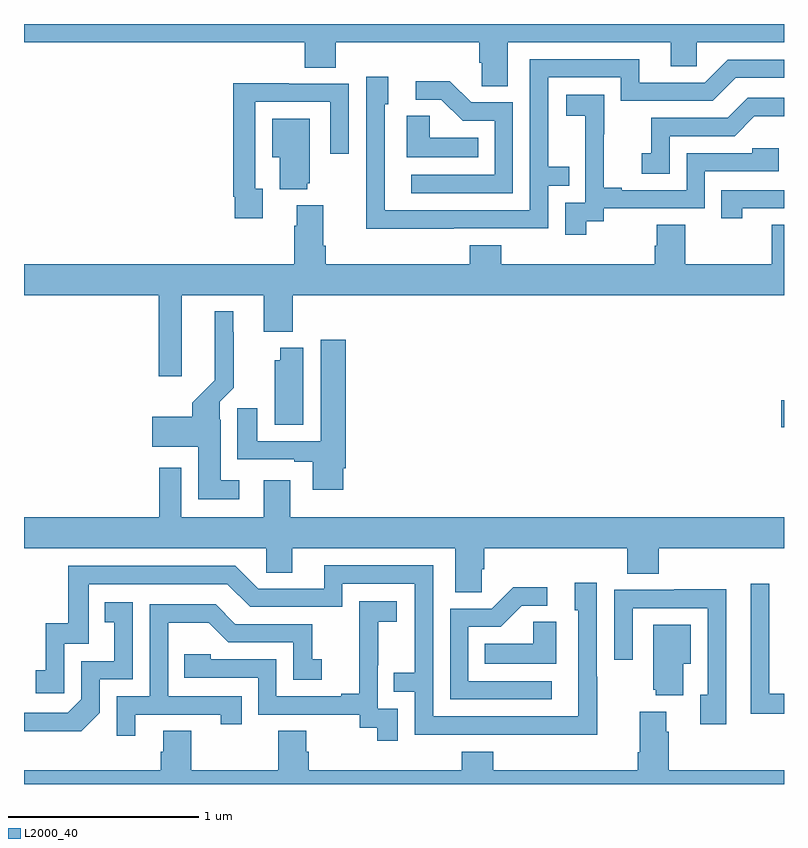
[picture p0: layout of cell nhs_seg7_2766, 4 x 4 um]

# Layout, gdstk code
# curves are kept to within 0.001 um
import gdstk
lib = gdstk.Library(unit=1e-6, precision=1e-09)
def R(c, l, rs):  # rectangles x0, y0, x1, y1
    for r in rs: c.add(gdstk.rectangle(r[:2], r[2:], *l))
def P(c, l, *ps):  # polygons
    for p in ps: c.add(gdstk.Polygon(p, *l))
L2000_40 = (2000, 40)

nhs_seg7_2766 = lib.new_cell('nhs_seg7_2766')
R(nhs_seg7_2766, L2000_40, [(292.986,1043.878,293,1044.02)])
P(nhs_seg7_2766, L2000_40, [(291.547,1045.904),(292.403,1045.904),(292.403,1045.777),(292.542,1045.777),(292.542,1045.904),(293,1045.904),(293,1046),(289,1046),(289,1045.904),(290.477,1045.904),(290.477,1045.771),(290.642,1045.771),(290.642,1045.904),(291.395,1045.904),(291.395,1045.795),(291.408,1045.795),(291.408,1045.672),(291.547,1045.672)],
  [(291.263,1044.924),(291.759,1044.924),(291.759,1045.149),(291.869,1045.149),(291.869,1045.25),(291.759,1045.25),(291.759,1045.719),(292.14,1045.719),(292.14,1045.596),(292.626,1045.596),(292.746,1045.716),(293,1045.716),(293,1045.812),(292.704,1045.812),(292.584,1045.692),(292.237,1045.692),(292.237,1045.815),(291.663,1045.815),(291.663,1045.02),(290.898,1045.02),(290.898,1045.578),(290.917,1045.578),(290.917,1045.723),(290.802,1045.723),(290.802,1045.229),(290.8,1045.229),(290.8,1044.923)],
  [(291.573,1045.587),(291.354,1045.587),(291.241,1045.7),(291.063,1045.7),(291.063,1045.602),(291.197,1045.602),(291.308,1045.491),(291.477,1045.491),(291.477,1045.206),(291.039,1045.206),(291.039,1045.11),(291.573,1045.11)],
  [(290.257,1045.134),(290.217,1045.134),(290.217,1045.59),(290.613,1045.59),(290.613,1045.317),(290.709,1045.317),(290.709,1045.686),(290.393,1045.686),(290.393,1045.688),(290.101,1045.688),(290.101,1045.09),(290.109,1045.09),(290.109,1044.978),(290.257,1044.978)],
  [(291.958,1044.961),(292.05,1044.961),(292.05,1045.029),(292.584,1045.029),(292.584,1045.224),(292.973,1045.224),(292.973,1045.347),(292.833,1045.347),(292.833,1045.32),(292.488,1045.32),(292.488,1045.125),(292.147,1045.125),(292.147,1045.138),(292.052,1045.138),(292.052,1045.421),(292.053,1045.421),(292.053,1045.627),(291.855,1045.627),(291.855,1045.517),(291.953,1045.517),(291.953,1045.289),(291.954,1045.289),(291.954,1045.059),(291.849,1045.059),(291.849,1044.891),(291.958,1044.891)],
  [(292.398,1045.41),(292.74,1045.41),(292.844,1045.514),(293,1045.514),(293,1045.611),(292.808,1045.611),(292.703,1045.506),(292.3,1045.506),(292.3,1045.321),(292.251,1045.321),(292.251,1045.212),(292.398,1045.212)],
  [(291.392,1045.402),(291.135,1045.402),(291.135,1045.517),(291.014,1045.517),(291.014,1045.298),(291.392,1045.298)],
  [(290.492,1045.161),(290.503,1045.161),(290.503,1045.501),(290.306,1045.501),(290.306,1045.298),(290.345,1045.298),(290.345,1045.13),(290.492,1045.13)],
  [(292.78,1045.029),(293,1045.029),(293,1045.125),(292.669,1045.125),(292.669,1044.978),(292.78,1044.978)],
  [(289.831,1044.572),(290.261,1044.572),(290.261,1044.38),(290.414,1044.38),(290.414,1044.572),(293,1044.572),(293,1044.944),(292.936,1044.944),(292.936,1044.736),(292.479,1044.736),(292.479,1044.944),(292.331,1044.944),(292.331,1044.834),(292.319,1044.834),(292.319,1044.736),(291.512,1044.736),(291.512,1044.835),(291.347,1044.835),(291.347,1044.736),(290.588,1044.736),(290.588,1044.832),(290.575,1044.832),(290.575,1045.045),(290.435,1045.045),(290.435,1044.938),(290.423,1044.938),(290.423,1044.736),(289,1044.736),(289,1044.572),(289.709,1044.572),(289.709,1044.147),(289.831,1044.147)],
  [(290.134,1043.599),(290.035,1043.599),(290.035,1043.918),(290.031,1043.918),(290.031,1044.012),(290.105,1044.086),(290.105,1044.377),(290.101,1044.377),(290.101,1044.487),(290.003,1044.487),(290.004,1044.124),(289.886,1044.006),(289.886,1043.932),(289.674,1043.932),(289.674,1043.774),(289.916,1043.774),(289.916,1043.498),(290.134,1043.498)],
  [(290.68,1043.662),(290.693,1043.662),(290.693,1044.337),(290.561,1044.337),(290.561,1043.805),(290.227,1043.805),(290.227,1043.977),(290.123,1043.977),(290.123,1043.709),(290.423,1043.709),(290.423,1043.697),(290.519,1043.697),(290.519,1043.55),(290.68,1043.55)],
  [(290.47,1044.295),(290.348,1044.295),(290.348,1044.231),(290.321,1044.231),(290.321,1043.89),(290.47,1043.89)],
  [(291.408,1043.131),(291.422,1043.131),(291.422,1043.24),(292.175,1043.24),(292.175,1043.107),(292.34,1043.107),(292.34,1043.24),(293,1043.24),(293,1043.404),(290.401,1043.404),(290.401,1043.599),(290.261,1043.599),(290.261,1043.404),(289.827,1043.404),(289.827,1043.665),(289.711,1043.665),(289.711,1043.404),(289,1043.404),(289,1043.24),(290.274,1043.24),(290.274,1043.113),(290.413,1043.113),(290.413,1043.24),(291.269,1043.24),(291.269,1043.008),(291.408,1043.008)],
  [(292.017,1042.565),(292.014,1042.565),(292.014,1043.059),(291.899,1043.059),(291.899,1042.914),(291.918,1042.914),(291.918,1042.356),(291.153,1042.356),(291.153,1043.151),(290.579,1043.151),(290.579,1043.028),(290.232,1043.028),(290.112,1043.148),(289.233,1043.148),(289.233,1042.846),(289.115,1042.846),(289.115,1042.599),(289.062,1042.599),(289.062,1042.478),(289.212,1042.478),(289.212,1042.737),(289.341,1042.737),(289.341,1043.052),(290.07,1043.052),(290.19,1042.932),(290.676,1042.932),(290.676,1043.055),(291.057,1043.055),(291.057,1042.586),(290.947,1042.586),(290.947,1042.485),(291.057,1042.485),(291.057,1042.26),(292.017,1042.259)],
  [(293,1042.474),(292.923,1042.474),(292.923,1043.053),(292.826,1043.053),(292.826,1042.37),(293,1042.37)],
  [(291.778,1042.542),(291.339,1042.542),(291.339,1042.827),(291.508,1042.827),(291.619,1042.938),(291.754,1042.938),(291.754,1043.036),(291.575,1043.036),(291.462,1042.923),(291.243,1042.923),(291.243,1042.446),(291.778,1042.446)],
  [(292.696,1043.024),(292.423,1043.024),(292.423,1043.022),(292.107,1043.022),(292.107,1042.653),(292.203,1042.653),(292.203,1042.926),(292.599,1042.926),(292.599,1042.47),(292.559,1042.47),(292.559,1042.314),(292.696,1042.314)],
  [(290.967,1042.395),(290.862,1042.395),(290.862,1042.625),(290.864,1042.625),(290.864,1042.853),(290.962,1042.853),(290.962,1042.963),(290.764,1042.963),(290.764,1042.757),(290.765,1042.757),(290.765,1042.474),(290.669,1042.474),(290.669,1042.461),(290.328,1042.461),(290.328,1042.656),(289.983,1042.656),(289.983,1042.683),(289.843,1042.683),(289.843,1042.56),(290.232,1042.56),(290.232,1042.365),(290.766,1042.365),(290.766,1042.297),(290.859,1042.297),(290.859,1042.227),(290.967,1042.227)],
  [(289.398,1042.374),(289.398,1042.551),(289.572,1042.551),(289.572,1042.957),(289.426,1042.957),(289.426,1042.851),(289.475,1042.851),(289.475,1042.647),(289.302,1042.647),(289.302,1042.446),(289.23,1042.374),(289,1042.374),(289,1042.277),(289.3,1042.277)],
  [(289.585,1042.365),(290.036,1042.365),(290.036,1042.314),(290.147,1042.314),(290.147,1042.461),(289.758,1042.461),(289.758,1042.85),(289.972,1042.85),(290.076,1042.746),(290.418,1042.746),(290.418,1042.548),(290.566,1042.548),(290.566,1042.657),(290.517,1042.657),(290.517,1042.842),(290.113,1042.842),(290.008,1042.947),(289.662,1042.947),(289.662,1042.461),(289.488,1042.461),(289.488,1042.254),(289.585,1042.254)],
  [(291.802,1042.853),(291.681,1042.853),(291.681,1042.738),(291.424,1042.738),(291.424,1042.634),(291.802,1042.634)],
  [(292.471,1042.634),(292.51,1042.634),(292.51,1042.837),(292.313,1042.837),(292.313,1042.497),(292.325,1042.497),(292.325,1042.466),(292.471,1042.466)],
  [(293,1042.072),(292.394,1042.072),(292.394,1042.274),(292.381,1042.274),(292.381,1042.381),(292.241,1042.381),(292.241,1042.168),(292.229,1042.168),(292.229,1042.072),(291.47,1042.072),(291.47,1042.171),(291.305,1042.171),(291.305,1042.072),(290.498,1042.072),(290.498,1042.17),(290.485,1042.17),(290.485,1042.28),(290.338,1042.28),(290.338,1042.072),(289.881,1042.072),(289.881,1042.28),(289.733,1042.28),(289.733,1042.17),(289.721,1042.17),(289.721,1042.072),(289,1042.072),(289,1042),(293,1042)])

lib.write_gds('nhs_seg7_2766.gds')
